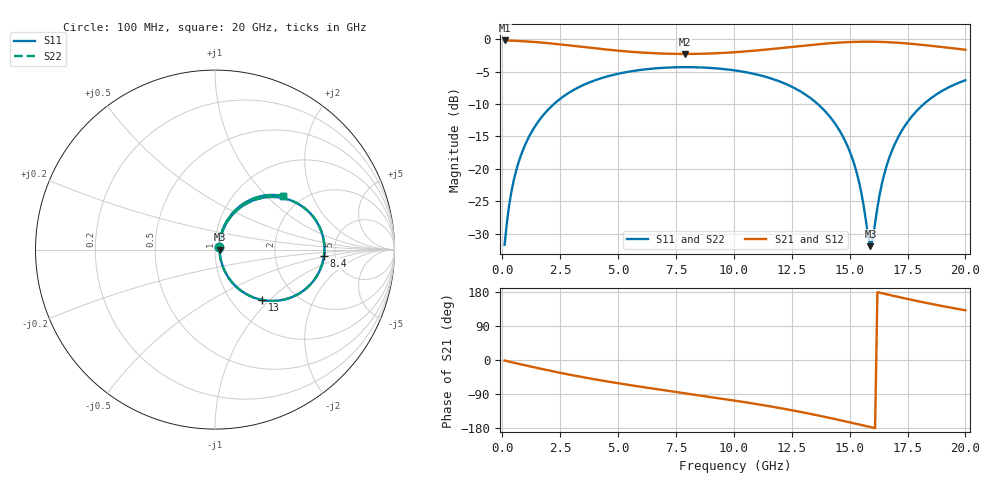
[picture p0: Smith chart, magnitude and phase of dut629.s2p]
! Touchstone file exported from HFSS 2026.1.0
!  File:  C:/ffzhzh/LocalFiles/Ansys_Project_Files/temp_train_TSV_RDL_629_1783125735_46604.aedt
!  Generated:  08:52:19 AM Jul  4, 2026
!  Design:  TSV_RDL
!  Project:  temp_train_TSV_RDL_629_1783125735_46604
! Variables:
!  h_bsmrdl = 2.78um
!  h_ox = 20um
!  h_rdl = 5um
!  h_sub = 80.5um
!  h_tmrdl = 5.17um
!  h_tsv = 80.5um
!  h_via = 3um
!  l_bsmrdl = 763.6um
!  l_sub = 3660.06um
!  l_tmrdl = 217.4um
!  m_sub = 200um
!  pitch = 58.55um
!  r_tsv = 11.7um
!  s_tmrdl = 10um
!  w_bsmrdl = 19.38um
!  w_sub = 500um
!  w_tmrdl = 13.84um
!  x_tsv_center1 = 224.32um
!  x_tsv_center2 = 1007.3um
!  x_tsv_center3 = 1238.54um
!  x_tsv_center4 = 2021.52um
!  x_tsv_center5 = 2252.76um
!  x_tsv_center6 = 3035.74um
# GHz S MA R 50.000000
! Terminal data exported
! Port[1] = TM_RDL1_1_T1
! Port[2] = TM_RDL5_1_T1
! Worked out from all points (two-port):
!   200 points, 100 MHz to 20 GHz, reference 50 ohm
!   highest |S21| = -0.18 dB at 100 MHz (marker M1); lowest = -2.3 dB at 7.9 GHz (marker M2)
!   |S21| within 3 dB of the highest: start of sweep to end of sweep
!   lowest |S11| = -31.9 dB at 15.9 GHz (marker M3), VSWR 1.05, Z = 52.6 - j0.0675 ohm
!   |S11| at or under -10 dB: start of sweep to 2.227 GHz; 13.63 GHz to 18.2 GHz (4.574 GHz wide, 28.7 % of centre)
!   |S22| runs from -32.0 to -4.3 dB; largest |S21 - S12| = 1.7e-14
!   S11 on the Smith chart (normalised r, x): 100 MHz: 1.04, +0.03; 8.4 GHz: 4.05, -0.46; 13 GHz: 1.37, -0.90; 20 GHz: 1.62, +1.26
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0.1  0.02596 37.8  0.9798 -1.5  0.9798 -1.5  0.02596 37.8
! Gamma 0 0 0 0
! Port Impedance 50 0 50 0
0.3  0.05292 62.0  0.9777 -4.4  0.9777 -4.4  0.05292 62.0
0.5  0.0824 67.1  0.9745 -7.2  0.9745 -7.2  0.0824 67.1
1.1  0.1694 66.4  0.9615 -15.5  0.9615 -15.5  0.1694 66.4
2.1  0.3012 56.6  0.929 -28.8  0.929 -28.8  0.3012 56.6
3.5  0.4438 41.3  0.8718 -45.6  0.8718 -45.6  0.4438 41.3
6.8  0.6001 10.2  0.7777 -78.1  0.7777 -78.1  0.6001 10.2
7.9  0.6097 0.9  0.7708 -87.8  0.7708 -87.8  0.6097 0.9
8.4  0.608 -3.4  0.7721 -92.2  0.7721 -92.2  0.608 -3.4
10.1  0.5734 -18.2  0.7963 -107.7  0.7963 -107.7  0.5734 -18.2
13  0.3841 -46.9  0.893 -138.4  0.893 -138.4  0.384 -46.9
13.4  0.342 -51.2  0.9079 -143.3  0.9079 -143.3  0.3419 -51.3
14.3  0.2329 -60.6  0.9371 -154.9  0.9371 -154.9  0.2329 -60.6
15  0.137 -65.5  0.9525 -164.4  0.9525 -164.4  0.1369 -65.5
15.4  0.08021 -63.1  0.9572 -170.0  0.9572 -170.0  0.08012 -63.3
15.9  0.02532 -1.5  0.9585 -177.0  0.9585 -177.0  0.02507 -1.4
16  0.02872 28.6  0.9581 -178.4  0.9581 -178.4  0.02851 28.9
16.4  0.07756 65.8  0.9544 176.1  0.9544 176.1  0.0775 66.0
16.7  0.12 68.6  0.9495 171.9  0.9495 171.9  0.12 68.8
17.3  0.2033 65.7  0.9348 163.7  0.9348 163.7  0.2033 65.8
18  0.2926 58.9  0.9112 154.6  0.9112 154.6  0.2926 59.0
20  0.4831 38.1  0.8311 131.2  0.8311 131.2  0.4831 38.2
